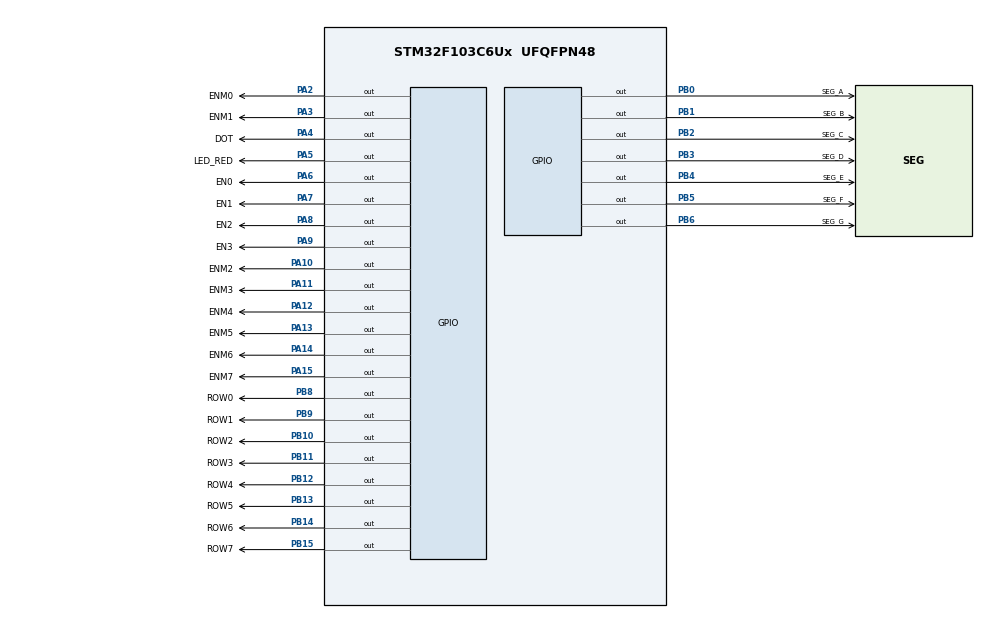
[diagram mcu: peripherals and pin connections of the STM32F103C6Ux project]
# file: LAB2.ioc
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Mcu.Family=STM32F1
Mcu.Name=STM32F103C6Ux
Mcu.Package=UFQFPN48
NVIC.PriorityGroup=NVIC_PRIORITYGROUP_4
NVIC.TIM2_IRQn=true\:0\:0\:false\:false\:true\:true\:true
PA10.GPIO_Label=ENM2
PA10.Signal=GPIO_Output
PA11.GPIO_Label=ENM3
PA11.Signal=GPIO_Output
PA12.GPIO_Label=ENM4
PA12.Signal=GPIO_Output
PA13.GPIO_Label=ENM5
PA13.Signal=GPIO_Output
PA14.GPIO_Label=ENM6
PA14.Signal=GPIO_Output
PA15.GPIO_Label=ENM7
PA15.Signal=GPIO_Output
PA2.GPIO_Label=ENM0
PA2.Signal=GPIO_Output
PA3.GPIO_Label=ENM1
PA3.Signal=GPIO_Output
PA4.GPIO_Label=DOT
PA4.Signal=GPIO_Output
PA5.GPIO_Label=LED_RED
PA5.Signal=GPIO_Output
PA6.GPIO_Label=EN0
PA6.Signal=GPIO_Output
PA7.GPIO_Label=EN1
PA7.Signal=GPIO_Output
PA8.GPIO_Label=EN2
PA8.Signal=GPIO_Output
PA9.GPIO_Label=EN3
PA9.Signal=GPIO_Output
PB0.GPIO_Label=SEG_A
PB0.Signal=GPIO_Output
PB1.GPIO_Label=SEG_B
PB1.Signal=GPIO_Output
PB10.GPIO_Label=ROW2
PB10.Signal=GPIO_Output
PB11.GPIO_Label=ROW3
PB11.Signal=GPIO_Output
PB12.GPIO_Label=ROW4
PB12.Signal=GPIO_Output
PB13.GPIO_Label=ROW5
PB13.Signal=GPIO_Output
PB14.GPIO_Label=ROW6
PB14.Signal=GPIO_Output
PB15.GPIO_Label=ROW7
PB15.Signal=GPIO_Output
PB2.GPIO_Label=SEG_C
PB2.Signal=GPIO_Output
PB3.GPIO_Label=SEG_D
PB3.Signal=GPIO_Output
PB4.GPIO_Label=SEG_E
PB4.Signal=GPIO_Output
PB5.GPIO_Label=SEG_F
PB5.Signal=GPIO_Output
PB6.GPIO_Label=SEG_G
PB6.Signal=GPIO_Output
PB8.GPIO_Label=ROW0
PB8.Signal=GPIO_Output
PB9.GPIO_Label=ROW1
PB9.Signal=GPIO_Output
ProjectManager.HeapSize=0x200
ProjectManager.StackSize=0x400
ProjectManager.TargetToolchain=STM32CubeIDE
RCC.APB1Freq_Value=8000000
RCC.APB2Freq_Value=8000000
TIM2.Period=9
TIM2.Prescaler=7999
VP_SYS_VS_ND.Mode=No_Debug
VP_TIM2_VS_ClockSourceINT.Mode=Internal
board=custom

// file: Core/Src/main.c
/* USER CODE BEGIN Header */
/**
  ******************************************************************************
  * @file           : main.c
  * @brief          : Main program body
  ******************************************************************************
  * @attention
  *
  * <h2><center>&copy; Copyright (c) 2024 STMicroelectronics.
  * All rights reserved.</center></h2>
  *
  * This software component is licensed by ST under BSD 3-Clause license,
  * the "License"; You may not use this file except in compliance with the
  * License. You may obtain a copy of the License at:
  *                        opensource.org/licenses/BSD-3-Clause
  *
  ******************************************************************************
  */
/* USER CODE END Header */
#include "main.h"

/* USER CODE BEGIN Includes */
#include "Software_timer.h"
/* USER CODE END Includes */

TIM_HandleTypeDef htim2;

void SystemClock_Config(void);
static void MX_GPIO_Init(void);
static void MX_TIM2_Init(void);

/* USER CODE BEGIN 0 */
void display7SEG_1 ( int counter){
		switch (counter) {
			case 0:
				HAL_GPIO_WritePin(SEG_A_GPIO_Port, SEG_A_Pin, RESET);
				HAL_GPIO_WritePin(SEG_B_GPIO_Port, SEG_B_Pin, RESET);
				HAL_GPIO_WritePin(SEG_C_GPIO_Port, SEG_C_Pin, RESET);
				HAL_GPIO_WritePin(SEG_D_GPIO_Port, SEG_D_Pin, RESET);
				HAL_GPIO_WritePin(SEG_E_GPIO_Port, SEG_E_Pin, RESET);
				HAL_GPIO_WritePin(SEG_F_GPIO_Port, SEG_F_Pin, RESET);
				HAL_GPIO_WritePin(SEG_G_GPIO_Port, SEG_G_Pin, SET);
				break;
			case 1:
				HAL_GPIO_WritePin(SEG_A_GPIO_Port, SEG_A_Pin, SET);
				HAL_GPIO_WritePin(SEG_B_GPIO_Port, SEG_B_Pin, RESET);
				HAL_GPIO_WritePin(SEG_C_GPIO_Port, SEG_C_Pin, RESET);
				HAL_GPIO_WritePin(SEG_D_GPIO_Port, SEG_D_Pin, SET);
				HAL_GPIO_WritePin(SEG_E_GPIO_Port, SEG_E_Pin, SET);
				HAL_GPIO_WritePin(SEG_F_GPIO_Port, SEG_F_Pin, SET);
				HAL_GPIO_WritePin(SEG_G_GPIO_Port, SEG_G_Pin, SET);
				break;
			case 2:
				HAL_GPIO_WritePin(SEG_A_GPIO_Port, SEG_A_Pin, RESET);
				HAL_GPIO_WritePin(SEG_B_GPIO_Port, SEG_B_Pin, RESET);
				HAL_GPIO_WritePin(SEG_C_GPIO_Port, SEG_C_Pin, SET);
				HAL_GPIO_WritePin(SEG_D_GPIO_Port, SEG_D_Pin, RESET);
				HAL_GPIO_WritePin(SEG_E_GPIO_Port, SEG_E_Pin, RESET);
				HAL_GPIO_WritePin(SEG_F_GPIO_Port, SEG_F_Pin, SET);
				HAL_GPIO_WritePin(SEG_G_GPIO_Port, SEG_G_Pin, RESET);
				break;
			case 3:
				HAL_GPIO_WritePin(SEG_A_GPIO_Port, SEG_A_Pin, RESET);
				HAL_GPIO_WritePin(SEG_B_GPIO_Port, SEG_B_Pin, RESET);
				HAL_GPIO_WritePin(SEG_C_GPIO_Port, SEG_C_Pin, RESET);
				HAL_GPIO_WritePin(SEG_D_GPIO_Port, SEG_D_Pin, RESET);
				HAL_GPIO_WritePin(SEG_E_GPIO_Port, SEG_E_Pin, SET);
				HAL_GPIO_WritePin(SEG_F_GPIO_Port, SEG_F_Pin, SET);
				HAL_GPIO_WritePin(SEG_G_GPIO_Port, SEG_G_Pin, RESET);
				break;
			case 4:
				HAL_GPIO_WritePin(SEG_A_GPIO_Port, SEG_A_Pin, SET);
				HAL_GPIO_WritePin(SEG_B_GPIO_Port, SEG_B_Pin, RESET);
				HAL_GPIO_WritePin(SEG_C_GPIO_Port, SEG_C_Pin, RESET);
				HAL_GPIO_WritePin(SEG_D_GPIO_Port, SEG_D_Pin, SET);
				HAL_GPIO_WritePin(SEG_E_GPIO_Port, SEG_E_Pin, SET);
				HAL_GPIO_WritePin(SEG_F_GPIO_Port, SEG_F_Pin, RESET);
				HAL_GPIO_WritePin(SEG_G_GPIO_Port, SEG_G_Pin, RESET);
				break;
			case 5:
				HAL_GPIO_WritePin(SEG_A_GPIO_Port, SEG_A_Pin, RESET);
				HAL_GPIO_WritePin(SEG_B_GPIO_Port, SEG_B_Pin, SET);
				HAL_GPIO_WritePin(SEG_C_GPIO_Port, SEG_C_Pin, RESET);
				HAL_GPIO_WritePin(SEG_D_GPIO_Port, SEG_D_Pin, RESET);
				HAL_GPIO_WritePin(SEG_E_GPIO_Port, SEG_E_Pin, SET);
				HAL_GPIO_WritePin(SEG_F_GPIO_Port, SEG_F_Pin, RESET);
				HAL_GPIO_WritePin(SEG_G_GPIO_Port, SEG_G_Pin, RESET);
				break;
			case 6:
				HAL_GPIO_WritePin(SEG_A_GPIO_Port, SEG_A_Pin, RESET);
				HAL_GPIO_WritePin(SEG_B_GPIO_Port, SEG_B_Pin, SET);
				HAL_GPIO_WritePin(SEG_C_GPIO_Port, SEG_C_Pin, RESET);
				HAL_GPIO_WritePin(SEG_D_GPIO_Port, SEG_D_Pin, RESET);
				HAL_GPIO_WritePin(SEG_E_GPIO_Port, SEG_E_Pin, RESET);
				HAL_GPIO_WritePin(SEG_F_GPIO_Port, SEG_F_Pin, RESET);
				HAL_GPIO_WritePin(SEG_G_GPIO_Port, SEG_G_Pin, RESET);
				break;
			case 7:
				HAL_GPIO_WritePin(SEG_A_GPIO_Port, SEG_A_Pin, RESET);
				HAL_GPIO_WritePin(SEG_B_GPIO_Port, SEG_B_Pin, RESET);
				HAL_GPIO_WritePin(SEG_C_GPIO_Port, SEG_C_Pin, RESET);
				HAL_GPIO_WritePin(SEG_D_GPIO_Port, SEG_D_Pin, SET);
				HAL_GPIO_WritePin(SEG_E_GPIO_Port, SEG_E_Pin, SET);
				HAL_GPIO_WritePin(SEG_F_GPIO_Port, SEG_F_Pin, SET);
				HAL_GPIO_WritePin(SEG_G_GPIO_Port, SEG_G_Pin, SET);
				break;
			case 8:
				HAL_GPIO_WritePin(SEG_A_GPIO_Port, SEG_A_Pin, RESET);
				HAL_GPIO_WritePin(SEG_B_GPIO_Port, SEG_B_Pin, RESET);
				HAL_GPIO_WritePin(SEG_C_GPIO_Port, SEG_C_Pin, RESET);
				HAL_GPIO_WritePin(SEG_D_GPIO_Port, SEG_D_Pin, RESET);
				HAL_GPIO_WritePin(SEG_E_GPIO_Port, SEG_E_Pin, RESET);
				HAL_GPIO_WritePin(SEG_F_GPIO_Port, SEG_F_Pin, RESET);
				HAL_GPIO_WritePin(SEG_G_GPIO_Port, SEG_G_Pin, RESET);
				break;
			case 9:
				HAL_GPIO_WritePin(SEG_A_GPIO_Port, SEG_A_Pin, RESET);
				HAL_GPIO_WritePin(SEG_B_GPIO_Port, SEG_B_Pin, RESET);
				HAL_GPIO_WritePin(SEG_C_GPIO_Port, SEG_C_Pin, RESET);
				HAL_GPIO_WritePin(SEG_D_GPIO_Port, SEG_D_Pin, RESET);
				HAL_GPIO_WritePin(SEG_E_GPIO_Port, SEG_E_Pin, SET);
				HAL_GPIO_WritePin(SEG_F_GPIO_Port, SEG_F_Pin, RESET);
				HAL_GPIO_WritePin(SEG_G_GPIO_Port, SEG_G_Pin, RESET);
				break;
			default:
				break;
		}
	}
const int MAX_LED = 4;
int index_led = 0;
int led_buffer[4] = {1, 2, 3, 4};
void update7SEG(int index){
	switch(index){
	case 0:
		// Display the first 7 SEG with led_buffer [0]
		// enable the first LED_7SEG , disable other LED_7SEG

		HAL_GPIO_WritePin(EN0_GPIO_Port, EN0_Pin, RESET);
		HAL_GPIO_WritePin(EN1_GPIO_Port, EN1_Pin, SET);
		HAL_GPIO_WritePin(EN2_GPIO_Port, EN2_Pin, SET);
		HAL_GPIO_WritePin(EN3_GPIO_Port, EN3_Pin, SET);
		display7SEG_1(led_buffer[0]);

		break;
	case 1:
		// Display the second 7 SEG with led_buffer [1]
		// enable the second LED_7SEG, disable other LED_7SEG
		HAL_GPIO_WritePin(EN0_GPIO_Port, EN0_Pin, SET);
		HAL_GPIO_WritePin(EN1_GPIO_Port, EN1_Pin, RESET);
		HAL_GPIO_WritePin(EN2_GPIO_Port, EN2_Pin, SET);
		HAL_GPIO_WritePin(EN3_GPIO_Port, EN3_Pin, SET);
		display7SEG_1(led_buffer[1]);

		break;
	case 2:
		// Display the third 7 SEG with led_buffer [2]
		// enable the third LED_7SEG, disable other LED_7SEG
		HAL_GPIO_WritePin(EN0_GPIO_Port, EN0_Pin, SET);
		HAL_GPIO_WritePin(EN1_GPIO_Port, EN1_Pin, SET);
		HAL_GPIO_WritePin(EN2_GPIO_Port, EN2_Pin, RESET);
		HAL_GPIO_WritePin(EN3_GPIO_Port, EN3_Pin, SET);
		display7SEG_1(led_buffer[2]);

		break;
	case 3:
		// Display the fourth 7 SEG with led_buffer [3]
		// enable the fourth LED_7SEG, disable other LED_7SEG
		HAL_GPIO_WritePin(EN0_GPIO_Port, EN0_Pin, SET);
		HAL_GPIO_WritePin(EN1_GPIO_Port, EN1_Pin, SET);
		HAL_GPIO_WritePin(EN2_GPIO_Port, EN2_Pin, SET);
		HAL_GPIO_WritePin(EN3_GPIO_Port, EN3_Pin, RESET);
		display7SEG_1(led_buffer[3]);

		break;
	default: break;
	}
}
int hour = 15, minute = 8, second = 50;
void updateClockBuffer(){
	led_buffer[0] = hour / 10;
	led_buffer[1] = hour % 10;
	led_buffer[2] = minute/10;
	led_buffer[3] = minute % 10;
}
/* USER CODE END 0 */

int main(void)
{

  /* MCU Configuration--------------------------------------------------------*/

  /* Reset of all peripherals, Initializes the Flash interface and the Systick. */
  HAL_Init();

  /* Configure the system clock */
  SystemClock_Config();

  /* Initialize all configured peripherals */
  MX_GPIO_Init();
  MX_TIM2_Init();
  /* USER CODE BEGIN 2 */
  HAL_TIM_Base_Start_IT(&htim2);
  /* USER CODE END 2 */

  /* Infinite loop */
  /* USER CODE BEGIN WHILE */

  set_timer_led(3);
  set_timer_dot(5);
  int hour = 15, minute = 8, second = 50;
  while (1)
  {
  	  if(timer_dot_flag == 1){
  		  	set_timer_dot(100);
  			second ++;
  			if(second >= 60){
  			  second = 0;
  			  minute ++;
  			}
  			if(minute >= 60){
  			  minute = 0;
  			  hour ++;
  			}
  			if(hour >= 24){
  			  hour = 0;
  			}
  			updateClockBuffer(hour, minute);
  			HAL_GPIO_TogglePin(DOT_GPIO_Port, DOT_Pin);
  	  }
  	  if(timer_led_flag == 1){
  		  set_timer_led(25);
  		  update7SEG(index_led);
  		  index_led = (index_led + 1) % MAX_LED;
  	  }

    /* USER CODE END WHILE */

  }
}

void SystemClock_Config(void)
{
  RCC_OscInitTypeDef RCC_OscInitStruct = {0};
  RCC_ClkInitTypeDef RCC_ClkInitStruct = {0};

  /** Initializes the RCC Oscillators according to the specified parameters
  * in the RCC_OscInitTypeDef structure.
  */
  RCC_OscInitStruct.OscillatorType = RCC_OSCILLATORTYPE_HSI;
  RCC_OscInitStruct.HSIState = RCC_HSI_ON;
  RCC_OscInitStruct.HSICalibrationValue = RCC_HSICALIBRATION_DEFAULT;
  RCC_OscInitStruct.PLL.PLLState = RCC_PLL_NONE;
  if (HAL_RCC_OscConfig(&RCC_OscInitStruct) != HAL_OK)
  {
    Error_Handler();
  }
  /** Initializes the CPU, AHB and APB buses clocks
  */
  RCC_ClkInitStruct.ClockType = RCC_CLOCKTYPE_HCLK|RCC_CLOCKTYPE_SYSCLK
                              |RCC_CLOCKTYPE_PCLK1|RCC_CLOCKTYPE_PCLK2;
  RCC_ClkInitStruct.SYSCLKSource = RCC_SYSCLKSOURCE_HSI;
  RCC_ClkInitStruct.AHBCLKDivider = RCC_SYSCLK_DIV1;
  RCC_ClkInitStruct.APB1CLKDivider = RCC_HCLK_DIV1;
  RCC_ClkInitStruct.APB2CLKDivider = RCC_HCLK_DIV1;

  if (HAL_RCC_ClockConfig(&RCC_ClkInitStruct, FLASH_LATENCY_0) != HAL_OK)
  {
    Error_Handler();
  }
}

static void MX_TIM2_Init(void)
{

  TIM_ClockConfigTypeDef sClockSourceConfig = {0};
  TIM_MasterConfigTypeDef sMasterConfig = {0};

  htim2.Instance = TIM2;
  htim2.Init.Prescaler = 7999;
  htim2.Init.CounterMode = TIM_COUNTERMODE_UP;
  htim2.Init.Period = 9;
  htim2.Init.ClockDivision = TIM_CLOCKDIVISION_DIV1;
  htim2.Init.AutoReloadPreload = TIM_AUTORELOAD_PRELOAD_DISABLE;
  if (HAL_TIM_Base_Init(&htim2) != HAL_OK)
  {
    Error_Handler();
  }
  sClockSourceConfig.ClockSource = TIM_CLOCKSOURCE_INTERNAL;
  if (HAL_TIM_ConfigClockSource(&htim2, &sClockSourceConfig) != HAL_OK)
  {
    Error_Handler();
  }
  sMasterConfig.MasterOutputTrigger = TIM_TRGO_RESET;
  sMasterConfig.MasterSlaveMode = TIM_MASTERSLAVEMODE_DISABLE;
  if (HAL_TIMEx_MasterConfigSynchronization(&htim2, &sMasterConfig) != HAL_OK)
  {
    Error_Handler();
  }

}

static void MX_GPIO_Init(void)
{
  GPIO_InitTypeDef GPIO_InitStruct = {0};

  /* GPIO Ports Clock Enable */
  __HAL_RCC_GPIOA_CLK_ENABLE();
  __HAL_RCC_GPIOB_CLK_ENABLE();

  /*Configure GPIO pin Output Level */
  HAL_GPIO_WritePin(GPIOA, DOT_Pin|LED_RED_Pin|EN0_Pin|EN1_Pin
                          |EN2_Pin|EN3_Pin, GPIO_PIN_RESET);

  /*Configure GPIO pin Output Level */
  HAL_GPIO_WritePin(GPIOB, SEG_A_Pin|SEG_B_Pin|SEG_C_Pin|SEG_D_Pin
                          |SEG_E_Pin|SEG_F_Pin|SEG_G_Pin, GPIO_PIN_RESET);

  /*Configure GPIO pins : DOT_Pin LED_RED_Pin EN0_Pin EN1_Pin
                           EN2_Pin EN3_Pin */
  GPIO_InitStruct.Pin = DOT_Pin|LED_RED_Pin|EN0_Pin|EN1_Pin
                          |EN2_Pin|EN3_Pin;
  GPIO_InitStruct.Mode = GPIO_MODE_OUTPUT_PP;
  GPIO_InitStruct.Pull = GPIO_NOPULL;
  GPIO_InitStruct.Speed = GPIO_SPEED_FREQ_LOW;
  HAL_GPIO_Init(GPIOA, &GPIO_InitStruct);

  /*Configure GPIO pins : SEG_A_Pin SEG_B_Pin SEG_C_Pin SEG_D_Pin
                           SEG_E_Pin SEG_F_Pin SEG_G_Pin */
  GPIO_InitStruct.Pin = SEG_A_Pin|SEG_B_Pin|SEG_C_Pin|SEG_D_Pin
                          |SEG_E_Pin|SEG_F_Pin|SEG_G_Pin;
  GPIO_InitStruct.Mode = GPIO_MODE_OUTPUT_PP;
  GPIO_InitStruct.Pull = GPIO_NOPULL;
  GPIO_InitStruct.Speed = GPIO_SPEED_FREQ_LOW;
  HAL_GPIO_Init(GPIOB, &GPIO_InitStruct);

}

/* USER CODE BEGIN 4 */

void HAL_TIM_PeriodElapsedCallback(TIM_HandleTypeDef *htim){

	timer_run();
}
/* USER CODE END 4 */

void Error_Handler(void)
{
  __disable_irq();
  while (1)
  {
  }
}

/************************ (C) COPYRIGHT STMicroelectronics *****END OF FILE****/
